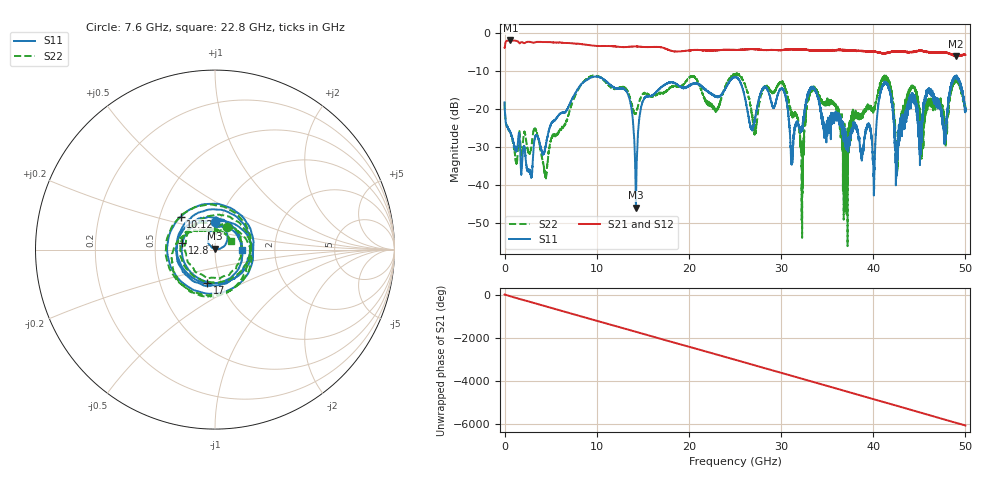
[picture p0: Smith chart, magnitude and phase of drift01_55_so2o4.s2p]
!Created with skrf (http://scikit-rf.org).
# Hz S RI R 50.0
!freq ReS11 ImS11 ReS21 ImS21 ReS12 ImS12 ReS22 ImS22
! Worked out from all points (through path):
!   10001 points, 300 kHz to 50 GHz, reference 50 ohm
!   highest |S21| = -2.00 dB at 625.3 MHz (marker M1); lowest = -6.1 dB at 48.98 GHz (marker M2)
!   group delay of S21, straight-line fit = 336 ps
!   lowest |S11| = -45.9 dB at 14.25 GHz (marker M3), VSWR 1.01, Z = 50 + j0.505 ohm
!   |S11| at or under -10 dB: start of sweep to end of sweep
!   |S22| runs from -56.0 to -10.6 dB; largest |S21 - S12| = 0.022
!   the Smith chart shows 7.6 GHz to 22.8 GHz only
!   S11 on the Smith chart (normalised r, x): 7.6 GHz: 0.96, +0.31; 10.12 GHz: 0.64, +0.25; 12.8 GHz: 0.69, +0.05; 17 GHz: 0.86, -0.34; 22.8 GHz: 1.35, +0.00
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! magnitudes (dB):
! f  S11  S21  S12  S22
! 300 kHz  -18.2  -4.0  -4.0  -18.2
! 625.3 MHz  -26.1  -2.0  -2.0  -26.2
! 4.445 GHz  -29.8  -2.4  -2.4  -37.5
! 7.6 GHz  -16.1  -2.8  -2.8  -16.8
! 8.335 GHz  -13.5  -2.9  -3.0  -13.5
! 10.12 GHz  -11.5  -3.4  -3.4  -11.4
! 12.8 GHz  -14.7  -3.8  -3.7  -14.2
! 14.25 GHz  -45.9  -3.6  -3.6  -21.2
! 16.67 GHz  -14.9  -3.7  -3.7  -15.9
! 17 GHz  -14.3  -3.8  -3.8  -15.8
! 22.8 GHz  -16.6  -4.6  -4.6  -19.9
! 25 GHz  -11.6  -4.5  -4.5  -10.8
! 27.17 GHz  -22.6  -4.3  -4.3  -26.3
! 30.22 GHz  -14.9  -4.5  -4.5  -13.6
! 32.26 GHz  -25.3  -4.3  -4.4  -40.5
! 33.34 GHz  -14.2  -4.6  -4.6  -14.8
! 36.99 GHz  -30.0  -4.6  -4.5  -29.3
! 40.05 GHz  -40.4  -4.9  -4.9  -20.0
! 41.67 GHz  -14.1  -5.1  -5.1  -13.1
! 42.58 GHz  -36.1  -4.8  -4.8  -31.0
! 48.98 GHz  -11.4  -6.1  -6.0  -12.6
! 50 GHz  -20.0  -5.8  -5.8  -19.6
